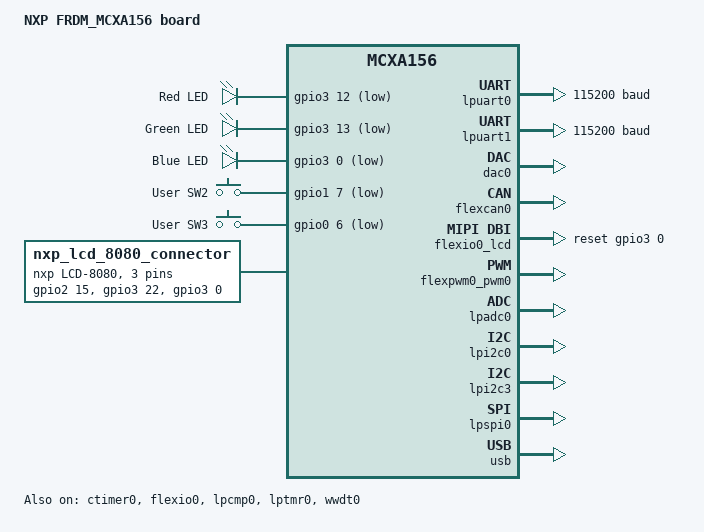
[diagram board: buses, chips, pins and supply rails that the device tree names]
/*
 * Copyright 2024 NXP
 *
 * SPDX-License-Identifier: Apache-2.0
 */

/dts-v1/;

#include <nxp/nxp_mcxa156.dtsi>
#include "frdm_mcxa156-pinctrl.dtsi"
#include <zephyr/dt-bindings/input/input-event-codes.h>

/ {
	model = "NXP FRDM_MCXA156 board";
	compatible = "nxp,mcxa156", "nxp,mcx";

	aliases{
		led0 = &red_led;
		led1 = &green_led;
		led2 = &red_led;
		sw0 = &user_button_2;
		sw1 = &user_button_3;
		pwm-0 = &flexpwm0_pwm0;
		mcuboot-button0 = &user_button_2;
		watchdog0 = &wwdt0;
	};

	chosen {
		zephyr,sram = &sram0;
		zephyr,flash = &flash;
		zephyr,flash-controller = &fmu;
		zephyr,code-partition = &slot0_partition;
		zephyr,console = &lpuart0;
		zephyr,shell-uart = &lpuart0;
		zephyr,uart-mcumgr = &lpuart0;
		zephyr,canbus = &flexcan0;
	};

	leds {
		compatible = "gpio-leds";
		red_led: led_0 {
			gpios = <&gpio3 12 GPIO_ACTIVE_LOW>;
			label = "Red LED";
		};
		green_led: led_1 {
			gpios = <&gpio3 13 GPIO_ACTIVE_LOW>;
			label = "Green LED";
		};
		blue_led: led_2 {
			gpios = <&gpio3 0 GPIO_ACTIVE_LOW>;
			label = "Blue LED";
		};
	};

	gpio_keys {
		compatible = "gpio-keys";
		user_button_2: button_2 {
			label = "User SW2";
			gpios = <&gpio1 7 GPIO_ACTIVE_LOW>;
			zephyr,code = <INPUT_KEY_0>;
		};
		user_button_3: button_3 {
			label = "User SW3";
			gpios = <&gpio0 6 GPIO_ACTIVE_LOW>;
			zephyr,code = <INPUT_KEY_1>;
		};
	};

	/*
	 * This node describes the GPIO pins of the LCD-PAR-S035 panel 8080 interface.
	 */
	nxp_lcd_8080_connector: lcd-8080-connector {
		compatible = "nxp,lcd-8080";
		#gpio-cells = <2>;
		gpio-map-mask = <0xffffffff 0xffffffc0>;
		gpio-map-pass-thru = <0 0x3f>;
		gpio-map =	<9  0 &gpio2 15 0>,	/* Pin 9, LCD touch INT */
				<10  0 &gpio3 22 0>,	/* Pin 10, LCD backlight control */
				<11  0 &gpio3 0 0>;	/* Pin 11, LCD and touch reset */
	};
};

&gpio0 {
	status = "okay";
};

&gpio1 {
	status = "okay";
};

&gpio2 {
	status = "okay";
};

&gpio3 {
	status = "okay";
};

&gpio4 {
	status = "okay";
};

&lpuart0 {
	status = "okay";
	current-speed = <115200>;
	pinctrl-0 = <&pinmux_lpuart0>;
	pinctrl-names = "default";
};

&lpuart1 {
	status = "okay";
	current-speed = <115200>;
	pinctrl-0 = <&pinmux_lpuart1>;
	pinctrl-names = "default";
};

&ctimer0 {
	status = "okay";
};

&dac0 {
	status = "okay";
	pinctrl-0 = <&pinmux_dac0>;
	pinctrl-names = "default";
};

&edma0 {
	status = "okay";
};

&flexcan0 {
	status = "okay";
	pinctrl-0 = <&pinmux_flexcan0>;
	pinctrl-names = "default";
};

&flexio0 {
	status = "okay";
};

nxp_8080_touch_panel_i2c: &lpi2c2 {
	pinctrl-0 = <&pinmux_lpi2c2>;
	pinctrl-names = "default";
};

zephyr_mipi_dbi_parallel: &flexio0_lcd {
	/* DMA channels 0, muxed to FlexIO TX */
	dmas = <&edma0 0 71>;
	dma-names = "tx";
	shifters-count = <4>;
	timers-count = <1>;
	enwr-pin = <31>;
	rd-pin = <28>;
	data-pin-start = <0>;
	reset-gpios = <&gpio3 0 GPIO_ACTIVE_HIGH>;
	cs-gpios = <&gpio2 19 GPIO_ACTIVE_HIGH>;
	rs-gpios = <&gpio2 17 GPIO_ACTIVE_HIGH>;
	pinctrl-0 = <&pinmux_flexio_lcd>;
	pinctrl-names = "default";
};

&flexpwm0_pwm0 {
	status = "okay";
	pinctrl-0 = <&pinmux_flexpwm0_pwm0>;
	pinctrl-names = "default";
};

&lpadc0 {
	status = "okay";
	pinctrl-0 = <&pinmux_lpadc0>;
	pinctrl-names = "default";
};

&lpcmp0 {
	status = "okay";
	pinctrl-0 = <&pinmux_lpcmp0>;
	pinctrl-names = "default";
};

&lpi2c0 {
	status = "okay";
	pinctrl-0 = <&pinmux_lpi2c0>;
	pinctrl-names = "default";
};

&lpi2c3 {
	status = "okay";
	pinctrl-0 = <&pinmux_lpi2c3>;
	pinctrl-names = "default";
};

&lpspi0 {
	status = "okay";
	pinctrl-0 = <&pinmux_lpspi0>;
	pinctrl-names = "default";
};

&lptmr0 {
	status = "okay";
};

zephyr_udc0: &usb {
	status = "okay";
	num-bidir-endpoints = <8>;
};

&wwdt0 {
	status = "okay";
};

&flash {
	partitions {
		compatible = "fixed-partitions";
		#address-cells = <1>;
		#size-cells = <1>;

		boot_partition: partition@0 {
			label = "mcuboot";
			reg = <0x00000000 DT_SIZE_K(64)>;
			read-only;
		};
		slot0_partition: partition@10000 {
			label = "image-0";
			reg = <0x00010000 DT_SIZE_K(424)>;
		};
		slot1_partition: partition@7a000 {
			label = "image-1";
			reg = <0x0007a000 DT_SIZE_K(424)>;
		};
		storage_partition: partition@e4000 {
			label = "storage";
			reg = <0x000e4000 DT_SIZE_K(112)>;
		};
	};
};
